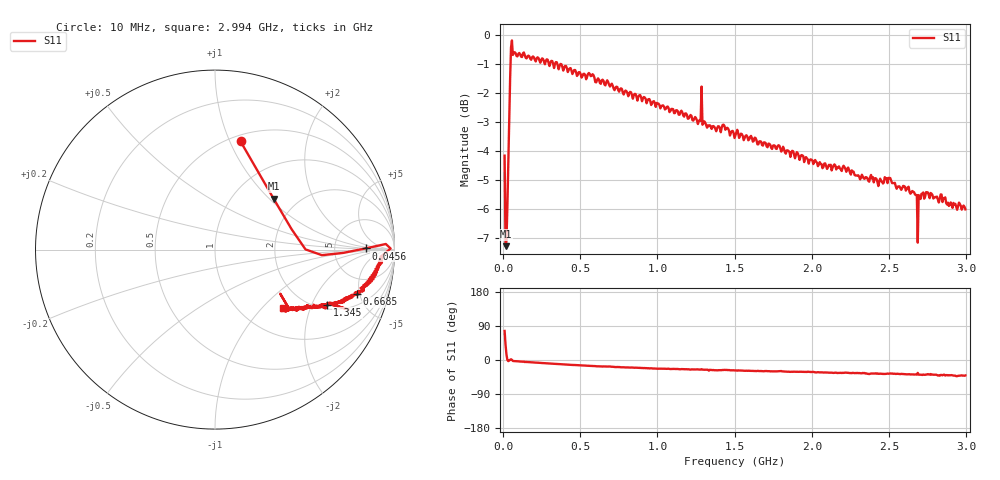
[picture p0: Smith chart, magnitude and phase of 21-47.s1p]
# HZ S RI R 50
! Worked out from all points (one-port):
!   504 points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, 10 MHz to 2.994 GHz, reference 50 ohm
!   lowest |S11| = -7.3 dB at 15.93 MHz (marker M1), VSWR 2.52, Z = 76.2 + j53.1 ohm
!   |S11| at or under -10 dB: nowhere
!   S11 on the Smith chart (normalised r, x): 10 MHz: 0.56, +1.10; 45.6 MHz: 11, +1; 668.5 MHz: 2.97, -4.72; 1.345 GHz: 2.18, -2.60; 2.994 GHz: 1.52, -1.33
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1e7  0.1423 0.6029
1.593254e7  0.3267 0.2834
2.779762e7  0.5043 0.000986
3.373016e7  0.5956 -0.031
4.559524e7  0.8385 0.00653
5.746032e7  0.9785 0.006
6.339286e7  0.9228 -0.0402
7.525794e7  0.9327 -0.0491
1.52381e8  0.9073 -0.0843
3.8375e8  0.864 -0.1752
6.685119e8  0.7913 -0.2481
7.575e8  0.7636 -0.2593
1.13125e9  0.6772 -0.2966
1.267698e9  0.6433 -0.3016
1.273631e9  0.6452 -0.3053
1.297361e9  0.6356 -0.3057
1.303294e9  0.6394 -0.3081
1.344822e9  0.6235 -0.3086
1.43381e9  0.6265 -0.3053
1.505e9  0.5961 -0.311
1.87875e9  0.5405 -0.3242
2.2525e9  0.4744 -0.3242
2.507599e9  0.4615 -0.3287
2.62625e9  0.4314 -0.3372
2.691508e9  0.4137 -0.331
2.703373e9  0.4066 -0.3266
2.756766e9  0.4174 -0.3266
2.994068e9  0.379 -0.3269
